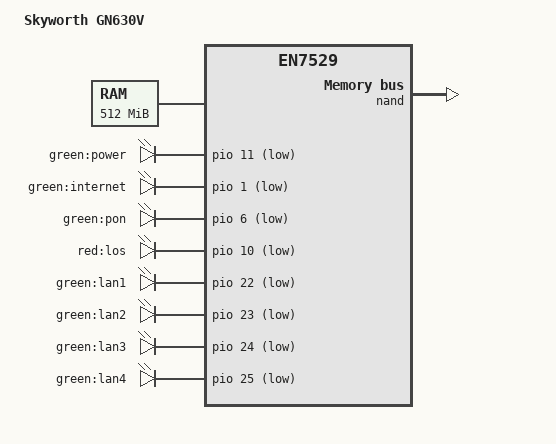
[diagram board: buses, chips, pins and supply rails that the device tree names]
// SPDX-License-Identifier: (GPL-2.0-only OR BSD-2-Clause)
/dts-v1/;
#include "en7529.dtsi"

/ {
	model = "Skyworth GN630V";
	compatible = "skyworth,gn630v", "airoha,en7529";

	aliases {
		serial0 = &uart1;
	};

	chosen {
		bootargs = "console=ttyS0,115200n8 earlycon";
		stdout-path = "serial0:115200n8";
	};

	memory@80000000 {
		device_type = "memory";
		reg = <0x0 0x80000000 0x0 0x20000000>; 
	};

	leds {
		compatible = "gpio-leds";
		power { label = "green:power"; gpios = <&pio 11 1>; };
		internet { label = "green:internet"; gpios = <&pio 1 1>; };
		pon { label = "green:pon"; gpios = <&pio 6 1>; };
		los { label = "red:los"; gpios = <&pio 10 1>; };
		lan1 { label = "green:lan1"; gpios = <&pio 22 1>; };
		lan2 { label = "green:lan2"; gpios = <&pio 23 1>; };
		lan3 { label = "green:lan3"; gpios = <&pio 24 1>; };
		lan4 { label = "green:lan4"; gpios = <&pio 25 1>; };
	};
};

&nand {
	status = "okay";
	partitions {
		compatible = "fixed-partitions";
		#address-cells = <1>;
		#size-cells = <1>;

		partition@0 { label = "bootloader"; reg = <0x0 0x80000>; read-only; };
		partition@80000 { label = "romfile"; reg = <0x80000 0x40000>; read-only; };
		partition@c0000 { label = "firmware"; reg = <0xc0000 0x2000000>; };
		partition@40c0000 { label = "config"; reg = <0x40c0000 0x800000>; };
		partition@48c0000 { label = "ubifs"; reg = <0x48c0000 0x2000000>; };
	};
};
